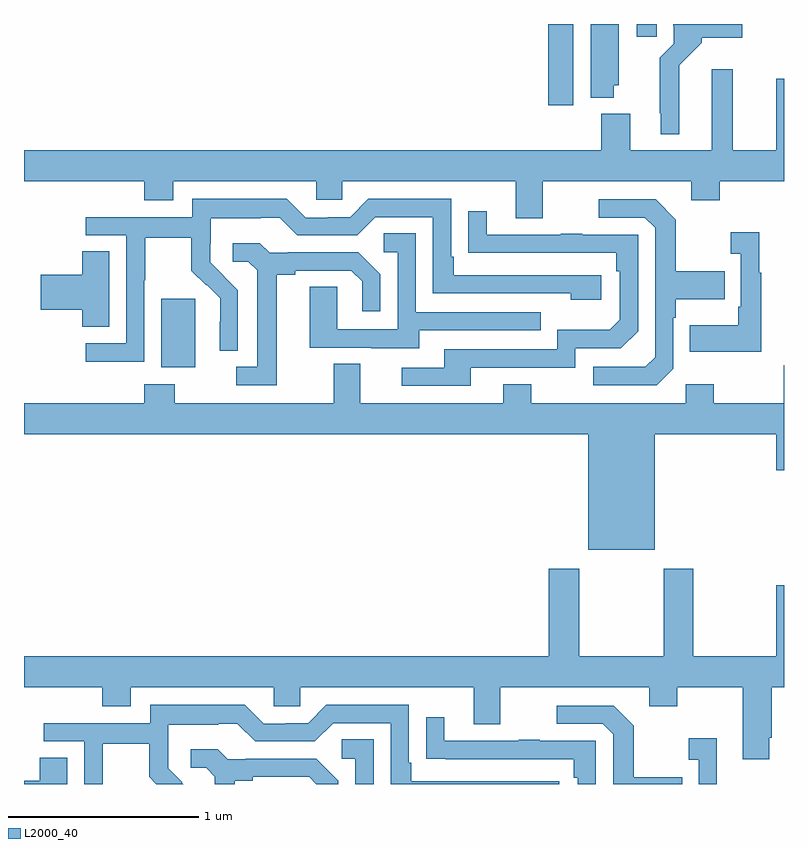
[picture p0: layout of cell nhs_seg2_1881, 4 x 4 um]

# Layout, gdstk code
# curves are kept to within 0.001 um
import gdstk
lib = gdstk.Library(unit=1e-6, precision=1e-09)
def R(c, l, rs):  # rectangles x0, y0, x1, y1
    for r in rs: c.add(gdstk.rectangle(r[:2], r[2:], *l))
def P(c, l, *ps):  # polygons
    for p in ps: c.add(gdstk.Polygon(p, *l))
L2000_40 = (2000, 40)

nhs_seg2_1881 = lib.new_cell('nhs_seg2_1881')
R(nhs_seg2_1881, L2000_40, [(209.723,643.994,209.902,644.355), (211.76,645.372,211.891,645.8), (212.225,645.732,212.329,645.8)])
P(nhs_seg2_1881, L2000_40, [(212.104,645.477),(212.131,645.477),(212.131,645.8),(211.982,645.8),(211.982,645.413),(212.104,645.413)],
  [(212.449,645.584),(212.567,645.702),(212.567,645.728),(212.779,645.728),(212.779,645.8),(212.417,645.8),(212.417,645.79),(212.421,645.79),(212.421,645.696),(212.347,645.622),(212.347,645.331),(212.351,645.331),(212.351,645.221),(212.449,645.221)],
  [(212.661,644.972),(213,644.972),(213,645.511),(212.96,645.511),(212.96,645.136),(212.731,645.136),(212.731,645.562),(212.621,645.562),(212.621,645.136),(212.191,645.136),(212.191,645.328),(212.039,645.328),(212.039,645.136),(209,645.136),(209,644.972),(209.633,644.972),(209.633,644.873),(209.785,644.873),(209.785,644.972),(210.537,644.972),(210.537,644.874),(210.675,644.874),(210.675,644.972),(211.589,644.972),(211.589,644.778),(211.729,644.778),(211.729,644.972),(212.513,644.972),(212.513,644.873),(212.661,644.873)],
  [(209.634,644.452),(209.637,644.452),(209.637,644.676),(209.881,644.676),(209.881,644.501),(209.958,644.424),(209.961,644.427),(210.032,644.357),(210.032,644.234),(210.03,644.234),(210.03,644.08),(210.126,644.08),(210.126,644.398),(209.98,644.546),(209.98,644.643),(209.982,644.643),(209.982,644.777),(210.245,644.777),(210.245,644.781),(210.345,644.781),(210.438,644.688),(210.753,644.688),(210.849,644.784),(211.152,644.784),(211.152,644.382),(211.877,644.382),(211.877,644.348),(212.038,644.348),(212.038,644.478),(211.261,644.478),(211.261,644.575),(211.248,644.575),(211.248,644.88),(210.813,644.88),(210.717,644.784),(210.599,644.784),(210.599,644.781),(210.483,644.781),(210.383,644.881),(209.886,644.881),(209.886,644.784),(209.325,644.784),(209.325,644.688),(209.538,644.688),(209.538,644.121),(209.325,644.121),(209.325,644.023),(209.634,644.023)],
  [(212.418,643.986),(212.418,644.255),(212.431,644.255),(212.431,644.351),(212.687,644.351),(212.687,644.499),(212.431,644.499),(212.431,644.771),(212.325,644.877),(212.025,644.877),(212.025,644.781),(212.268,644.781),(212.322,644.727),(212.322,644.046),(212.271,643.995),(211.995,643.995),(211.995,643.899),(212.331,643.899)],
  [(211.351,643.992),(211.902,643.992),(211.902,644.094),(212.142,644.094),(212.232,644.184),(212.232,644.691),(211.937,644.691),(211.937,644.696),(211.825,644.696),(211.825,644.691),(211.435,644.691),(211.435,644.815),(211.339,644.815),(211.339,644.596),(212.116,644.595),(212.116,644.498),(212.136,644.498),(212.136,644.244),(212.083,644.191),(211.806,644.191),(211.806,644.088),(211.211,644.088),(211.211,643.992),(210.987,643.992),(210.987,643.896),(211.351,643.896)],
  [(212.881,644.491),(212.869,644.491),(212.869,644.704),(212.721,644.704),(212.721,644.591),(212.772,644.591),(212.772,644.311),(212.76,644.311),(212.76,644.215),(212.503,644.215),(212.503,644.075),(212.881,644.075)],
  [(211.081,644.187),(211.721,644.187),(211.721,644.283),(211.062,644.283),(211.062,644.699),(210.894,644.699),(210.894,644.598),(210.966,644.598),(210.966,644.193),(210.648,644.193),(210.648,644.417),(210.503,644.417),(210.503,644.097),(210.827,644.097),(210.827,644.093),(211.081,644.093)],
  [(210.331,644.48),(210.427,644.48),(210.427,644.502),(210.722,644.502),(210.779,644.445),(210.779,644.289),(210.876,644.289),(210.876,644.482),(210.76,644.598),(210.388,644.598),(210.388,644.595),(210.294,644.595),(210.242,644.647),(210.099,644.647),(210.099,644.55),(210.18,644.55),(210.227,644.503),(210.227,643.995),(210.117,643.995),(210.117,643.899),(210.331,643.899)],
  [(209.449,644.603),(209.306,644.603),(209.306,644.48),(209.088,644.48),(209.088,644.297),(209.306,644.297),(209.306,644.206),(209.449,644.206)],
  [(212.32,643.64),(212.96,643.64),(212.96,643.452),(213,643.452),(213,644.003),(212.998,644.003),(212.998,643.804),(212.631,643.804),(212.631,643.903),(212.484,643.903),(212.484,643.804),(211.671,643.804),(211.671,643.903),(211.523,643.903),(211.523,643.804),(210.769,643.804),(210.769,644.012),(210.629,644.012),(210.629,643.804),(209.793,643.804),(209.793,643.903),(209.633,643.903),(209.633,643.804),(209,643.804),(209,643.64),(211.97,643.64),(211.97,643.034),(212.32,643.034)],
  [(212.923,642.043),(212.936,642.043),(212.936,642.308),(213,642.308),(213,642.847),(212.96,642.847),(212.96,642.472),(212.523,642.472),(212.523,642.934),(212.368,642.934),(212.368,642.472),(211.923,642.472),(211.923,642.934),(211.763,642.934),(211.763,642.472),(209,642.472),(209,642.308),(209.411,642.308),(209.411,642.209),(209.563,642.209),(209.563,642.308),(210.315,642.308),(210.315,642.21),(210.453,642.21),(210.453,642.308),(211.367,642.308),(211.367,642.114),(211.507,642.114),(211.507,642.308),(212.291,642.308),(212.291,642.209),(212.439,642.209),(212.439,642.308),(212.783,642.308),(212.783,641.931),(212.923,641.931)],
  [(209.415,642.012),(209.659,642.012),(209.659,641.837),(209.696,641.8),(209.838,641.8),(209.831,641.807),(209.832,641.808),(209.758,641.882),(209.758,641.979),(209.76,641.979),(209.76,642.113),(210.023,642.113),(210.023,642.117),(210.123,642.117),(210.216,642.024),(210.531,642.024),(210.627,642.12),(210.93,642.12),(210.93,641.8),(211.816,641.8),(211.816,641.814),(211.039,641.814),(211.039,641.911),(211.026,641.911),(211.026,642.216),(210.591,642.216),(210.495,642.12),(210.377,642.12),(210.377,642.117),(210.261,642.117),(210.161,642.217),(209.664,642.217),(209.664,642.12),(209.103,642.12),(209.103,642.024),(209.316,642.024),(209.316,641.8),(209.415,641.8)],
  [(212.465,641.835),(212.209,641.835),(212.209,642.107),(212.103,642.213),(211.803,642.213),(211.803,642.117),(212.046,642.117),(212.1,642.063),(212.1,641.8),(212.465,641.8)],
  [(212.01,642.027),(211.715,642.027),(211.715,642.032),(211.603,642.032),(211.603,642.027),(211.213,642.027),(211.213,642.151),(211.117,642.151),(211.117,641.932),(211.219,641.932),(211.219,641.931),(211.894,641.931),(211.894,641.834),(211.914,641.834),(211.914,641.8),(212.01,641.8)],
  [(212.646,642.04),(212.499,642.04),(212.499,641.927),(212.55,641.927),(212.55,641.8),(212.646,641.8)],
  [(210.84,642.035),(210.672,642.035),(210.672,641.934),(210.744,641.934),(210.744,641.8),(210.84,641.8)],
  [(210.109,641.816),(210.205,641.816),(210.205,641.838),(210.5,641.838),(210.538,641.8),(210.654,641.8),(210.654,641.818),(210.538,641.934),(210.166,641.934),(210.166,641.931),(210.072,641.931),(210.02,641.983),(209.877,641.983),(209.877,641.886),(209.958,641.886),(210.005,641.839),(210.005,641.8),(210.109,641.8)],
  [(209.227,641.939),(209.084,641.939),(209.084,641.816),(209,641.816),(209,641.8),(209.227,641.8)])

lib.write_gds('nhs_seg2_1881.gds')
